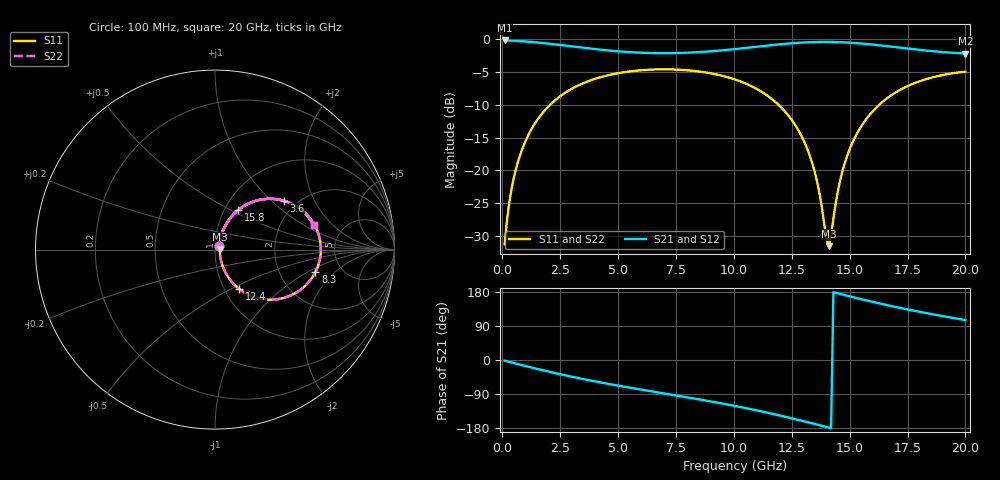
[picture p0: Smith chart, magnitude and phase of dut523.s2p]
! Touchstone file exported from HFSS 2026.1.0
!  File:  C:/ffzhzh/LocalFiles/Ansys_Project_Files/temp_train_TSV_RDL_523_1783110568_37876.aedt
!  Generated:  04:42:34 AM Jul  4, 2026
!  Design:  TSV_RDL
!  Project:  temp_train_TSV_RDL_523_1783110568_37876
! Variables:
!  h_bsmrdl = 2.65um
!  h_ox = 20um
!  h_rdl = 5um
!  h_sub = 67.82um
!  h_tmrdl = 4.24um
!  h_tsv = 67.82um
!  h_via = 3um
!  l_bsmrdl = 294.06um
!  l_sub = 4398.31um
!  l_tmrdl = 750.15um
!  m_sub = 200um
!  pitch = 51.42um
!  r_tsv = 6.95um
!  s_tmrdl = 10um
!  w_bsmrdl = 18.68um
!  w_sub = 500um
!  w_tmrdl = 19.83um
!  x_tsv_center1 = 760.065um
!  x_tsv_center2 = 1072.805um
!  x_tsv_center3 = 1842.785um
!  x_tsv_center4 = 2155.525um
!  x_tsv_center5 = 2925.505um
!  x_tsv_center6 = 3238.245um
# GHz S MA R 50.000000
! Terminal data exported
! Port[1] = TM_RDL1_1_T1
! Port[2] = TM_RDL5_1_T1
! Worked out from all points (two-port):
!   200 points, 100 MHz to 20 GHz, reference 50 ohm
!   highest |S21| = -0.18 dB at 100 MHz (marker M1); lowest = -2.2 dB at 20 GHz (marker M2)
!   |S21| within 3 dB of the highest: start of sweep to end of sweep
!   lowest |S11| = -31.6 dB at 14.1 GHz (marker M3), VSWR 1.05, Z = 52.7 + j0.26 ohm
!   |S11| at or under -10 dB: start of sweep to 2.067 GHz; 11.93 GHz to 16.28 GHz (4.348 GHz wide, 30.8 % of centre)
!   |S22| runs from -31.6 to -4.6 dB; largest |S21 - S12| = 2.5e-14
!   S11 on the Smith chart (normalised r, x): 100 MHz: 1.04, +0.04; 3.6 GHz: 1.71, +1.20; 8.3 GHz: 3.19, -1.20; 12.4 GHz: 1.17, -0.55; 15.8 GHz: 1.16, +0.55; 20 GHz: 3.08, +1.22
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0.1  0.02722 39.4  0.9793 -1.7  0.9793 -1.7  0.02722 39.4
! Gamma 0 0 0 0
! Port Impedance 50 0 50 0
0.3  0.05659 62.4  0.9768 -4.9  0.9768 -4.9  0.05659 62.4
0.5  0.08829 67.0  0.9735 -8.0  0.9735 -8.0  0.08829 67.0
1.1  0.1821 65.0  0.9593 -17.3  0.9593 -17.3  0.1821 65.0
2.1  0.3205 53.5  0.9221 -32.0  0.9221 -32.0  0.3205 53.5
3.5  0.4625 36.6  0.8611 -50.4  0.8611 -50.4  0.4625 36.6
3.6  0.4703 35.4  0.857 -51.6  0.857 -51.6  0.4703 35.4
6.8  0.5894 2.1  0.7835 -86.3  0.7835 -86.3  0.5894 2.1
8.3  0.5731 -12.7  0.7945 -101.7  0.7945 -101.7  0.5731 -12.7
10.1  0.49 -31.7  0.8433 -121.8  0.8433 -121.8  0.49 -31.7
11.4  0.3767 -46.8  0.8932 -138.3  0.8932 -138.3  0.3767 -46.8
12.4  0.2557 -58.6  0.9292 -152.3  0.9292 -152.3  0.2557 -58.6
13.4  0.1112 -65.5  0.9518 -167.4  0.9518 -167.4  0.1112 -65.5
13.7  0.0665 -60.4  0.9546 -172.0  0.9546 -172.0  0.06646 -60.5
14  0.02956 -25.5  0.9552 -176.6  0.9552 -176.6  0.02946 -25.6
14.1  0.02636 5.4  0.955 -178.2  0.955 -178.2  0.02624 5.4
14.5  0.07055 62.5  0.9516 175.7  0.9516 175.7  0.0705 62.6
14.8  0.115 66.6  0.9466 171.1  0.9466 171.1  0.115 66.7
15.8  0.2568 59.5  0.9181 156.2  0.9181 156.2  0.2568 59.6
16.7  0.3637 49.2  0.8828 143.8  0.8828 143.8  0.3637 49.2
18.2  0.4899 32.2  0.8241 125.1  0.8241 125.1  0.4899 32.2
20  0.5658 13.7  0.7786 105.4  0.7786 105.4  0.5658 13.8
